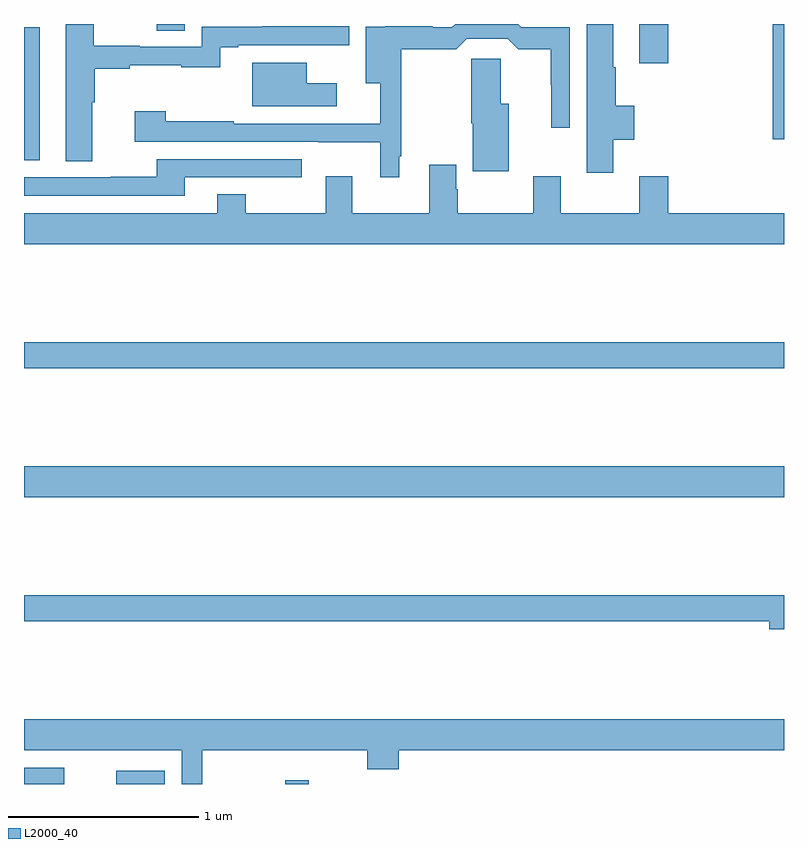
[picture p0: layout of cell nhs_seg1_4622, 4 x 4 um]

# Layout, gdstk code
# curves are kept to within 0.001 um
import gdstk
lib = gdstk.Library(unit=1e-6, precision=1e-09)
def R(c, l, rs):  # rectangles x0, y0, x1, y1
    for r in rs: c.add(gdstk.rectangle(r[:2], r[2:], *l))
def P(c, l, *ps):  # polygons
    for p in ps: c.add(gdstk.Polygon(p, *l))
L2000_40 = (2000, 40)

nhs_seg1_4622 = lib.new_cell('nhs_seg1_4622')
R(nhs_seg1_4622, L2000_40, [(361,574.199,361.213,574.284), (361.485,574.199,361.74,574.269), (362.374,574.199,362.498,574.219), (361,575.708,365,575.872), (361,576.388,365,576.524), (361,577.482,361.084,578.182), (364.94,577.593,365,578.199), (364.238,577.992,364.391,578.199), (361.699,578.164,361.846,578.199)])
P(nhs_seg1_4622, L2000_40, [(364.102,577.591),(364.213,577.591),(364.213,577.769),(364.115,577.769),(364.115,577.971),(364.102,577.971),(364.102,578.199),(363.962,578.199),(363.962,577.416),(364.102,577.416)],
  [(361.36,577.786),(361.373,577.786),(361.373,577.963),(361.556,577.963),(361.556,577.981),(361.828,577.981),(361.828,577.971),(362.032,577.971),(362.032,578.076),(362.128,578.076),(362.128,578.088),(362.713,578.088),(362.713,578.186),(362.254,578.186),(362.254,578.184),(361.935,578.184),(361.935,578.079),(361.61,578.079),(361.61,578.084),(361.368,578.084),(361.368,578.199),(361.22,578.199),(361.22,577.477),(361.36,577.477)],
  [(362.974,577.504),(362.986,577.504),(362.986,578.066),(363.275,578.066),(363.33,578.121),(363.546,578.121),(363.602,578.066),(363.772,578.066),(363.772,577.878),(363.775,577.878),(363.775,577.653),(363.873,577.653),(363.873,578.181),(363.618,578.181),(363.6,578.199),(363.27,578.199),(363.252,578.181),(363.152,578.181),(363.152,578.186),(362.798,578.185),(362.798,577.886),(362.875,577.886),(362.875,577.674),(362.105,577.674),(362.105,577.687),(361.745,577.687),(361.745,577.741),(361.584,577.741),(361.584,577.578),(362.876,577.577),(362.876,577.392),(362.974,577.392)],
  [(363.55,577.78),(363.508,577.78),(363.508,578.017),(363.355,578.017),(363.355,577.676),(363.362,577.676),(363.362,577.424),(363.55,577.424)],
  [(362.647,577.888),(362.488,577.888),(362.488,577.996),(362.201,577.996),(362.201,577.766),(362.647,577.766)],
  [(361.846,577.392),(362.461,577.392),(362.461,577.488),(361.699,577.488),(361.699,577.394),(361.456,577.394),(361.456,577.392),(361,577.392),(361,577.296),(361.846,577.296)],
  [(365,577.204),(364.391,577.204),(364.391,577.399),(364.238,577.399),(364.238,577.204),(363.826,577.204),(363.826,577.399),(363.679,577.399),(363.679,577.204),(363.282,577.204),(363.282,577.328),(363.274,577.328),(363.274,577.459),(363.134,577.459),(363.134,577.204),(362.728,577.204),(362.728,577.399),(362.588,577.399),(362.588,577.204),(362.166,577.204),(362.166,577.303),(362.018,577.303),(362.018,577.204),(361,577.204),(361,577.04),(365,577.04)],
  [(365,575.192),(361,575.192),(361,575.056),(364.922,575.056),(364.922,575.014),(365,575.014)],
  [(361.939,574.376),(362.807,574.376),(362.807,574.277),(362.972,574.277),(362.972,574.376),(365,574.376),(365,574.54),(361,574.54),(361,574.376),(361.83,574.376),(361.83,574.199),(361.939,574.199)])

lib.write_gds('nhs_seg1_4622.gds')
